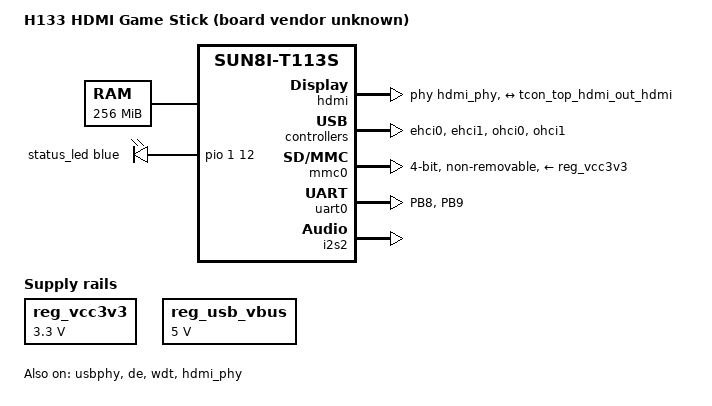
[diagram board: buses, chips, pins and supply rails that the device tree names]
// SPDX-License-Identifier: (GPL-2.0+ OR MIT)
/*
 * Minimal bring-up device tree for an unidentified H133/T113-S3 HDMI stick.
 *
 * The board manufacturer and model are not printed on the PCB, so the
 * compatible intentionally uses only the upstream SoC fallback.  Add a real
 * board compatible when the hardware can be identified.
 */

/dts-v1/;

#include "sun8i-t113s.dtsi"

#include <dt-bindings/gpio/gpio.h>
#include <dt-bindings/leds/common.h>

/ {
	model = "H133 HDMI Game Stick (board vendor unknown)";
	compatible = "allwinner,sun8i-t113s";

	aliases {
		serial0 = &uart0;
	};

	chosen {
		/*
		 * Required for the framebuffer child below to produce a memory
		 * resource. Without them the kernel reports:
		 *
		 *   simple-framebuffer chosen:framebuffer@4bee8c00: No memory resource
		 *   ... probe with driver simple-framebuffer failed with error -22
		 *
		 * of_translate_one() bails with "no ranges; cannot translate" when the
		 * parent has no ranges property, so reg never becomes a resource. An
		 * empty "ranges" gives the 1:1 translation this node needs. Every
		 * in-tree DT that puts simple-framebuffer under /chosen declares all
		 * three.
		 */
		#address-cells = <1>;
		#size-cells = <1>;
		ranges;

		stdout-path = "serial0:115200n8";
		/* Ignored while CONFIG_CMDLINE_FORCE=y; kept in sync to avoid confusion. */
		bootargs = "console=ttyS0,115200 console=tty0 earlycon clk_ignore_unused pd_ignore_unused rdinit=/init loglevel=8 ignore_loglevel panic=0";

		/*
		 * Take over the framebuffer U-Boot already set up. Must be a direct
		 * child of /chosen: drivers/of/platform.c finds it with
		 * of_get_compatible_child(of_chosen, "simple-framebuffer").
		 *
		 * Geometry from the running vendor system:
		 *   disp_reserve=3686400,0x4bee8c00
		 *   boot_fb0 = "4bee8c00,500,2d0,20,1400"
		 * 0x500=1280 wide, 0x2d0=720 high, 0x20=32bpp, 0x1400=5120 stride,
		 * and 0x384000 == 3686400 == 1280*720*4.
		 */
		/*
		 * Base is disp_reserve's 0x4bee8c00 + 0x40.
		 *
		 * With the plain 0x4bee8c00 every console line was rotated left by
		 * exactly 2 characters, the leading pair reappearing at the right
		 * edge. 2 chars * 8 px * 4 bytes = 64 bytes, and the shift was
		 * identical on every line - a wrong stride would instead shear
		 * progressively down the screen, and v41's chunk test already
		 * confirmed stride 5120 / width 1280 to well under a row.
		 *
		 * Screen X=0 was showing what fbcon wrote at column 2, so
		 * T + Y*stride = F + Y*stride + 64, i.e. the real scanout base is
		 * 64 bytes above what disp_reserve reports. If this over-corrects
		 * (shift doubles rather than vanishes) the answer is 0x4bee8bc0.
		 *
		 * The reserved-memory range below still covers this: it runs to
		 * 0x4c26d000 and this ends at 0x4c26cc40.
		 */
		framebuffer0: framebuffer@4bee8c40 {
			compatible = "simple-framebuffer";
			reg = <0x4bee8c40 0x384000>;
			width = <1280>;
			height = <720>;
			stride = <5120>;
			format = "x8r8g8b8";
		};
	};

	/*
	 * Keep the kernel out of the framebuffer. Without this the page allocator
	 * hands this range out as ordinary memory and scribbles over the picture -
	 * the green bands seen under v35.
	 */
	reserved-memory {
		#address-cells = <1>;
		#size-cells = <1>;
		ranges;

		/*
		 * Page-aligned on purpose. ARM ioremap checks
		 * memblock_is_map_memory(PFN_PHYS(pfn)) - the page holding the
		 * address, 0x4bee8000. Reserving from the unaligned 0x4bee8c00 left
		 * 0x4bee8000-0x4bee8c00 mapped as ordinary RAM, so the check failed
		 * and ioremap_wc() returned NULL for the whole framebuffer.
		 *
		 * 0x4bee8000 + 0x385000 covers 0x4bee8c00 + 0x384000 with both ends
		 * rounded out to page boundaries.
		 */
		fb_reserved: framebuffer@4bee8000 {
			reg = <0x4bee8000 0x385000>;
			no-map;
		};

		/*
		 * Crash log store. This board has no reachable UART, so a hang
		 * or panic takes its own evidence with it - which is how v60's
		 * SMP instability had to be debugged blind. ramoops keeps the
		 * kernel log in RAM across a reboot, readable afterwards from
		 * /sys/fs/pstore.
		 *
		 * Placed immediately above the framebuffer reservation, which
		 * ends at 0x4c26d000. The first attempt used 0x4fe00000 and
		 * recorded nothing, which was blamed on U-Boot relocating to
		 * the top of DRAM - wrong. That address was fine; the reads
		 * failed because the board was power-cycled, which loses DRAM.
		 * Note also that a warm reset only sometimes preserves memory
		 * here: boot0 re-runs DRAM init and the result is a coin flip.
		 *
		 * Deliberately NOT no-map: ramoops memremaps this region and
		 * needs it mappable.
		 *
		 * Reboot goes through the watchdog, which resets the SoC without
		 * clearing DRAM, so the contents survive.
		 */
		ramoops@4c280000 {
			compatible = "ramoops";
			reg = <0x4c280000 0x100000>;
			record-size = <0x8000>;
			console-size = <0x40000>;
			pmsg-size = <0x8000>;
		};
	};

	memory@40000000 {
		device_type = "memory";
		reg = <0x40000000 0x10000000>;
	};

	reg_vcc3v3: regulator-3v3 {
		compatible = "regulator-fixed";
		regulator-name = "vcc-3v3";
		regulator-min-microvolt = <3300000>;
		regulator-max-microvolt = <3300000>;
		regulator-always-on;
	};

	reg_usb_vbus: regulator-usb-vbus {
		compatible = "regulator-fixed";
		regulator-name = "usb-vbus";
		regulator-min-microvolt = <5000000>;
		regulator-max-microvolt = <5000000>;
		regulator-always-on;
	};

	leds {
		compatible = "gpio-leds";

		status_led: led-0 {
			color = <LED_COLOR_ID_BLUE>;
			function = LED_FUNCTION_STATUS;
			gpios = <&pio 1 12 GPIO_ACTIVE_HIGH>; /* PB12 */
			default-state = "off";
			/*
			 * Positive control. Without a trigger a dark LED is
			 * ambiguous: it means either "the kernel died" or "the
			 * LED was never asked to light". The heartbeat trigger
			 * is the only signal proven to work on this board.
			 */
			/* Disk activity. The trigger is named for the host: mmc0. */
			linux,default-trigger = "mmc0";
		};
	};
};

&dcxo {
	clock-frequency = <24000000>;
};

&ehci0 {
	status = "okay";
};

&ehci1 {
	status = "okay";
};

&mmc0 {
	pinctrl-0 = <&mmc0_pins>;
	pinctrl-names = "default";
	vmmc-supply = <&reg_vcc3v3>;
	/*
	 * This card is the boot medium.  Treat it as permanently present during
	 * early bring-up so an uncertain PF6 card-detect polarity cannot prevent
	 * the kernel from ever registering the root block device.
	 */
	non-removable;
	disable-wp;
	bus-width = <4>;
	status = "okay";
};

&ohci0 {
	status = "okay";
};

&ohci1 {
	status = "okay";
};

&pio {
	vcc-pb-supply = <&reg_vcc3v3>;
	vcc-pf-supply = <&reg_vcc3v3>;

	uart0_pb8_pins: uart0-pb8-pins {
		pins = "PB8", "PB9";
		function = "uart0";
		bias-pull-up;
	};
};

&uart0 {
	pinctrl-0 = <&uart0_pb8_pins>;
	pinctrl-names = "default";
	status = "okay";
};

&usbphy {
	usb0_vbus-supply = <&reg_usb_vbus>;
	usb1_vbus-supply = <&reg_usb_vbus>;
	status = "okay";
};

/*
 * Display pipeline.
 *
 * mainline already has everything from the mixers to the TCONs, and the CCU
 * driver already provides the HDMI clocks and resets. The pipeline is wired
 * mixer0 -> tcon_top -> tcon_tv0 -> tcon_top_hdmi_out, where it stops: the
 * upstream DTSI leaves port@5 dangling because there is no HDMI controller
 * node. The nodes below close that gap.
 *
 * Register addresses, the interrupt and the clock/reset wiring are cross
 * checked against the vendor DT: it has hdmi@5500000 with interrupt 0x5d
 * (93), which is what SOC_PERIPHERAL_IRQ(93) resolves to here.
 */
&de {
	status = "okay";
};

&tcon_top_hdmi_out {
	tcon_top_hdmi_out_hdmi: endpoint {
		remote-endpoint = <&hdmi_in_tcon_top>;
	};
};

/*
 * The upstream soc node carries no label, so it has to be reopened by
 * path rather than with an &soc reference.
 */
/ {
	soc {
		hdmi: hdmi@5500000 {
			compatible = "allwinner,sun20i-d1-dw-hdmi";
			reg = <0x5500000 0x10000>;
			reg-io-width = <1>;
			interrupts = <SOC_PERIPHERAL_IRQ(93) IRQ_TYPE_LEVEL_HIGH>;
			clocks = <&ccu CLK_BUS_HDMI>,
				 <&ccu CLK_HDMI_24M>,
				 <&ccu CLK_HDMI_CEC>;
			/*
			 * No "tmds" clock: unlike the A83T and H6, this PHY generates
			 * the TMDS clock from its own PLL. sun8i_dw_hdmi.c asks for it
			 * with devm_clk_get_optional() for exactly this reason.
			 */
			clock-names = "iahb", "isfr", "cec";
			resets = <&ccu RST_BUS_HDMI_SUB>;
			reset-names = "ctrl";
			phys = <&hdmi_phy>;
			phy-names = "phy";
			#sound-dai-cells = <0>;
			status = "okay";

			ports {
				#address-cells = <1>;
				#size-cells = <0>;

				port@0 {
					reg = <0>;

					hdmi_in_tcon_top: endpoint {
						remote-endpoint = <&tcon_top_hdmi_out_hdmi>;
					};
				};

				hdmi_out: port@1 {
					reg = <1>;
				};
			};
		};

		hdmi_phy: phy@5510000 {
			compatible = "allwinner,sun20i-d1-hdmi-phy";
			reg = <0x5510000 0x10000>;
			clocks = <&ccu CLK_BUS_HDMI>, <&ccu CLK_HDMI_24M>;
			clock-names = "bus", "mod";
			resets = <&ccu RST_BUS_HDMI_MAIN>;
			reset-names = "phy";
			status = "okay";
			#phy-cells = <0>;
		};
	};
};

/*
 * HDMI audio.
 *
 * The vendor DT routes audio the same way: i2s2@2034000 with
 * dai-type = "hdmi" feeding an "allwinner,sunxi-snd-codec-hdmi" node. Mainline
 * already has the controller - i2s2 is in the upstream DTSI, and sun4i-i2s
 * claims it through the "allwinner,sun50i-r329-i2s" fallback - so all that is
 * needed is to enable it and link it to the codec dw-hdmi exposes.
 *
 * The analog codec at 0x2030000 is deliberately left alone: the vendor DT has
 * it status = "disabled", so nothing is wired to those pins on this board.
 */
&i2s2 {
	/*
	 * Route TX into the internal audio hub rather than out to the I2S
	 * pins, which are not connected on this board. This is what actually
	 * carries the samples to the HDMI controller - without it playback
	 * runs cleanly and is silent. Mirrors the vendor DT's tx-hub-en on
	 * the same node.
	 */
	allwinner,tx-hub-en;
	status = "okay";
};

/ {
	hdmi_sound: hdmi-sound {
		compatible = "simple-audio-card";
		simple-audio-card,name = "H133-HDMI";
		simple-audio-card,format = "i2s";
		simple-audio-card,mclk-fs = <256>;
		simple-audio-card,frame-master = <&hdmi_sound_cpu>;
		simple-audio-card,bitclock-master = <&hdmi_sound_cpu>;

		hdmi_sound_cpu: simple-audio-card,cpu {
			sound-dai = <&i2s2>;
		};

		simple-audio-card,codec {
			sound-dai = <&hdmi>;
		};
	};
};

/*
 * Reboot.
 *
 * Both watchdog nodes are status = "reserved" in the upstream DTSI, so
 * of_device_is_available() rejects them and sunxi-wdt never binds. Without it
 * no restart handler is registered at all, and since this SoC has no PSCI
 * firmware either, "reboot" has nothing to reset the machine with and simply
 * halts - which is what was happening, despite CONFIG_SUNXI_WATCHDOG=y.
 *
 * This is the 0x20500a0 node, whose "-reset" compatible is the one that can
 * reset the whole SoC. sunxi_wdt matches on the second string and registers a
 * restart handler at priority 128. It does not arm the watchdog: nothing runs
 * unless userspace opens /dev/watchdog, and no watchdog daemon is installed.
 */
&wdt {
	status = "okay";
};

/*
 * Second CPU core.
 *
 * The upstream sun8i-t113s.dtsi declares cpu@0 and cpu@1 but gives neither an
 * enable-method, so the kernel has no way to start the secondary core and
 * quietly runs on one: "smp: Brought up 1 node, 1 CPU". CONFIG_SMP=y is not
 * sufficient on its own.
 *
 * The vendor DT uses PSCI for this - cpus { enable-method =
 * "allwinner,sun8iw20p1"; } with enable-method = "psci" on each core, plus a
 * psci node with method = "smc". We boot through the same vendor firmware
 * chain, so those PSCI services should still be installed.
 *
 * If the firmware turns out not to provide PSCI, the SMC will fault or hang
 * during SMP bring-up - restore artifacts/boot-audiohub-v57.img.
 */
/ {
	psci {
		compatible = "arm,psci-1.0";
		method = "smc";
	};
};

&cpu0 {
	enable-method = "psci";
};

&cpu1 {
	enable-method = "psci";
};

/*
 * The vendor firmware leaves CNTVOFF uninitialised on the secondary core, so
 * the two CPUs disagree about the time by a fixed ~7481 seconds. Caught by
 * running the softlockup detector with both cores up: consecutive kernel log
 * lines read
 *
 *   [    3.069790] devtmpfs: mounted
 *   [ 7484.437214] Freeing unused kernel image (initmem) memory: 1024K
 *
 * The jump lands exactly where CPU1 comes online, and every later message from
 * CPU1 carries the same offset:
 *
 *   watchdog: BUG: soft lockup - CPU#1 stuck for 21s! [swapper/1:0]
 *
 * Linux reads the virtual counter, CNTVCT = CNTPCT - CNTVOFF, so a garbage
 * CNTVOFF on one core corrupts ktime_get() depending on which CPU calls it.
 * That is what made SMP look "unstable" from v60 onwards.
 *
 * CNTVOFF is only writable from HYP mode. secondary_startup does call
 * __hyp_stub_install_secondary, which zeroes it, but this firmware enters
 * Linux in SVC so that fix never runs.
 *
 * Tell the timer driver not to trust the firmware. On ARM that switches it to
 * the physical counter, which has no per-core offset. sun6i-a31, sun8i-a23-a33
 * and sun9i-a80 all carry the same property for the same reason.
 *
 * clock-frequency matches &dcxo; the property means CNTFRQ cannot be trusted
 * either. The node has no label upstream, hence the path form.
 */
/ {
	timer {
		arm,cpu-registers-not-fw-configured;
		clock-frequency = <24000000>;
	};
};
